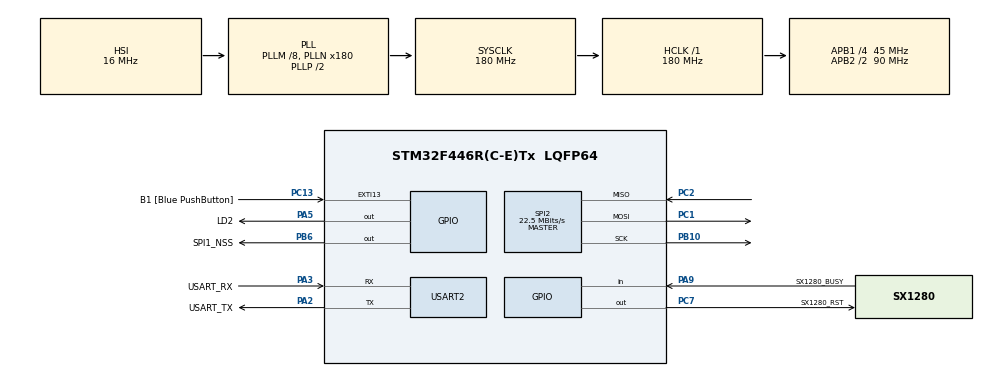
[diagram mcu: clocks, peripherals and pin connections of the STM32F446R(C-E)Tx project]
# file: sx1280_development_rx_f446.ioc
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Mcu.Family=STM32F4
Mcu.Name=STM32F446R(C-E)Tx
Mcu.Package=LQFP64
NVIC.PriorityGroup=NVIC_PRIORITYGROUP_0
PA13.GPIO_Label=TMS
PA13.Mode=Serial_Wire
PA13.Signal=SYS_JTMS-SWDIO
PA14.GPIO_Label=TCK
PA14.Mode=Serial_Wire
PA14.Signal=SYS_JTCK-SWCLK
PA2.GPIO_Label=USART_TX
PA2.Mode=Asynchronous
PA2.Signal=USART2_TX
PA3.GPIO_Label=USART_RX
PA3.Mode=Asynchronous
PA3.Signal=USART2_RX
PA5.GPIO_Label=LD2
PA5.PinState=GPIO_PIN_SET
PA5.Signal=GPIO_Output
PA9.GPIO_Label=SX1280_BUSY
PA9.Signal=GPIO_Input
PB10.Mode=Full_Duplex_Master
PB10.Signal=SPI2_SCK
PB3.GPIO_Label=SWO
PB3.Signal=SYS_JTDO-SWO
PB6.GPIO_Label=SPI1_NSS
PB6.GPIO_PuPd=GPIO_PULLUP
PB6.GPIO_Speed=GPIO_SPEED_FREQ_VERY_HIGH
PB6.PinState=GPIO_PIN_SET
PB6.Signal=GPIO_Output
PC1.GPIO_PuPd=GPIO_PULLDOWN
PC1.Mode=Full_Duplex_Master
PC1.Signal=SPI2_MOSI
PC13.GPIO_Label=B1 [Blue PushButton]
PC13.GPIO_ModeDefaultEXTI=GPIO_MODE_IT_FALLING
PC13.Signal=GPXTI13
PC14-OSC32_IN.Mode=LSE-External-Oscillator
PC14-OSC32_IN.Signal=RCC_OSC32_IN
PC15-OSC32_OUT.Mode=LSE-External-Oscillator
PC15-OSC32_OUT.Signal=RCC_OSC32_OUT
PC2.Mode=Full_Duplex_Master
PC2.Signal=SPI2_MISO
PC7.GPIO_Label=SX1280_RST
PC7.GPIO_PuPd=GPIO_PULLUP
PC7.GPIO_Speed=GPIO_SPEED_FREQ_VERY_HIGH
PC7.PinState=GPIO_PIN_SET
PC7.Signal=GPIO_Output
PH0-OSC_IN.Mode=HSE-External-Oscillator
PH0-OSC_IN.Signal=RCC_OSC_IN
PH1-OSC_OUT.Mode=HSE-External-Oscillator
PH1-OSC_OUT.Signal=RCC_OSC_OUT
ProjectManager.HeapSize=0x200
ProjectManager.StackSize=0x400
ProjectManager.TargetToolchain=STM32CubeIDE
RCC.48MHZClocksFreq_Value=84000000
RCC.AHBFreq_Value=180000000
RCC.APB1CLKDivider=RCC_HCLK_DIV4
RCC.APB1Freq_Value=45000000
RCC.APB1TimFreq_Value=90000000
RCC.APB2CLKDivider=RCC_HCLK_DIV2
RCC.APB2Freq_Value=90000000
RCC.APB2TimFreq_Value=180000000
RCC.CortexFreq_Value=180000000
RCC.FLatency-AdvancedSettings=FLASH_LATENCY_5
RCC.HCLKFreq_Value=180000000
RCC.HSE_VALUE=8000000
RCC.HSI_VALUE=16000000
RCC.PLLM=8
RCC.PLLN=180
RCC.SYSCLKFreq_VALUE=180000000
RCC.SYSCLKSource=RCC_SYSCLKSOURCE_PLLCLK
RCC.USBFreq_Value=180000000
RCC.VCOOutputFreq_Value=360000000
SPI2.CalculateBaudRate=22.5 MBits/s
SPI2.Direction=SPI_DIRECTION_2LINES
SPI2.Mode=SPI_MODE_MASTER
SPI2.VirtualType=VM_MASTER
USART2.VirtualMode=VM_ASYNC
board=NUCLEO-F446RE

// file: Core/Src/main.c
/* USER CODE BEGIN Header */
/**
  ******************************************************************************
  * @file           : main.c
  * @brief          : Main program body
  ******************************************************************************
  * @attention
  *
  * Copyright (c) 2023 STMicroelectronics.
  * All rights reserved.
  *
  * This software is licensed under terms that can be found in the LICENSE file
  * in the root directory of this software component.
  * If no LICENSE file comes with this software, it is provided AS-IS.
  *
  ******************************************************************************
  */
/* USER CODE END Header */
#include "main.h"

SPI_HandleTypeDef hspi2;

UART_HandleTypeDef huart2;

void SystemClock_Config(void);
static void MX_GPIO_Init(void);
static void MX_USART2_UART_Init(void);
static void MX_SPI2_Init(void);
/* USER CODE BEGIN PFP */
static void SPI1_TRANSCEIVER(uint8_t* tx, uint8_t* rx, uint8_t lengh)
{
	while(HAL_GPIO_ReadPin(SX1280_BUSY_GPIO_Port, SX1280_BUSY_Pin));
	HAL_GPIO_WritePin(SPI1_NSS_GPIO_Port, SPI1_NSS_Pin, GPIO_PIN_RESET);
	HAL_Delay(1);
	HAL_SPI_TransmitReceive(&hspi2, tx, rx, lengh, 10);
	HAL_GPIO_WritePin(SPI1_NSS_GPIO_Port, SPI1_NSS_Pin, GPIO_PIN_SET);
}
/* USER CODE END PFP */

int main(void)
{

  /* MCU Configuration--------------------------------------------------------*/

  /* Reset of all peripherals, Initializes the Flash interface and the Systick. */
  HAL_Init();

  /* Configure the system clock */
  SystemClock_Config();

  /* Initialize all configured peripherals */
  MX_GPIO_Init();
  MX_USART2_UART_Init();
  MX_SPI2_Init();
  /* USER CODE BEGIN 2 */

   //===========================================
   //===========================================
   //===========================================

   uint8_t tx[10] = {};
   uint8_t rx[10] = {};

   // reset
   HAL_GPIO_WritePin(SX1280_RST_GPIO_Port, SX1280_RST_Pin, GPIO_PIN_SET);
   HAL_Delay(10);
   HAL_GPIO_WritePin(SX1280_RST_GPIO_Port, SX1280_RST_Pin, GPIO_PIN_RESET);
   HAL_Delay(10);
   HAL_GPIO_WritePin(SX1280_RST_GPIO_Port, SX1280_RST_Pin, GPIO_PIN_SET);

   //===========================================
   // common transceiver setting for LoRa
   //===========================================

   // setstandby(stdby_rc)
   *(uint32_t*)tx = 0x80 | 0x01 << 8;
   SPI1_TRANSCEIVER(tx, rx, 2);

   // setpackettype(packet_type_lora)
   *(uint32_t*)tx = 0x8A | 0x01 << 8; // LoRa mode
   SPI1_TRANSCEIVER(tx, rx, 2);

   // setrffrequency(rfFrequency)
   *(uint32_t*)tx = 0x86 | 0xB8 << 8 | 0x9D << 16 | 0x89 << 24;
   SPI1_TRANSCEIVER(tx, rx, 4);

   // setbufferbaseaddress()
   *(uint32_t*)tx = 0x8F | 0x80 << 8 | 0x00 << 16;
   SPI1_TRANSCEIVER(tx, rx, 3);

   // setmodulationparams(modparam1, modparam2, modparam3)
   *(uint32_t*)tx = 0x8B | 0x70 << 8 | 0x0A << 16 | 0x01 << 24;
   SPI1_TRANSCEIVER(tx, rx, 4);

   // setpacketparams(pktparam1, pktparam2, pktparam3, pktparam4, pktparam5)
   *(uint32_t*)tx = 0x8C | 0x0C << 8 | 0x00 << 16 | 0x04 << 24;
   *(uint32_t*)(tx+4) = 0x40 | 0x00 << 8 | 0x00 << 16;
   SPI1_TRANSCEIVER(tx, rx, 7);

//   //===========================================
//   // Tx Setting and Operations
//   //===========================================
//
//   // SetTxParams(power, rampTime)
//   *(uint32_t*)tx = 0x8E | 0x1F << 8 | 0xE0 << 16 | 0x01 << 24;
//   SPI1_TRANSCEIVER(tx, rx, 4);
//
//   // WriteBuffer(offset, *data)
//   *(uint32_t*)tx = 0x1A | 0x80 << 8 | 0x05 << 16 | 0x04 << 24;
//   *(uint32_t*)(tx+4) = 0x08 | 0x07 << 8;
//   SPI1_TRANSCEIVER(tx, rx, 6);
//
//   // SetDioIrqParams(irqMask, dio1Mask, dio2Mask, dio3Mask)
//   *(uint32_t*)tx = 0x8D | 0x40 << 8 | 0x23 << 16 | 0x00 << 24;
//   *(uint32_t*)(tx+4) = 0x01 | 0x00 << 8 | 0x02 << 16 | 0x40 << 24;
//   *(uint32_t*)(tx+8) = 0x20;
//   SPI1_TRANSCEIVER(tx, rx, 9);
//
//   // SetTx(periodBase, periodBaseCount, '')
//   *(uint32_t*)tx = 0x83 | 0x00 << 8 | 0x00 << 16 | 0x00 << 24;
//   SPI1_TRANSCEIVER(tx, rx, 4);
//
//   // get irq status
//   *(uint32_t*)tx = 0x15 | 0x00 << 8 | 0x00 << 16 | 0x00 << 24;
//   SPI1_TRANSCEIVER(tx, rx, 4);

   //===========================================
   // Rx Setting and Operations
   //===========================================

   // SetDioIrqParams(irqMask, dio1Mask, dio2Mask, dio3Mask)
   *(uint32_t*)tx = 0x8D | 0x40 << 8 | 0x23 << 16 | 0x00 << 24;
   *(uint32_t*)(tx+4) = 0x01 | 0x00 << 8 | 0x02 << 16 | 0x40 << 24;
   *(uint32_t*)(tx+8) = 0x20;
   SPI1_TRANSCEIVER(tx, rx, 9);

   // SetRx(periodBase, periodBaseCount[15:8], periodBaseCount[7:0])
   *(uint32_t*)tx = 0x82 | 0x00 << 8 | 0x00 << 16 | 0x00 << 24;
   SPI1_TRANSCEIVER(tx, rx, 4);

   // WaitIrq
   while(1)
   {
	   *(uint32_t*)tx = 0x15 | 0x00 << 8 | 0x00 << 16 | 0x00 << 24;
	   SPI1_TRANSCEIVER(tx, rx, 4);
	   if(rx[3] & 0x02) break;
   }

   // GetPacketStatus()
   *(uint32_t*)tx = 0x1D | 0x00 << 8 | 0x00 << 16 | 0x00 << 24;
   *(uint32_t*)(tx+4) = 0x00 | 0x00 << 8 | 0x00 << 16;
   SPI1_TRANSCEIVER(tx, rx, 7);

   // ClrIrqStatus(irqMask)
   *(uint32_t*)tx = 0x97 | 0xFF << 8 | 0xFF << 16;
   SPI1_TRANSCEIVER(tx, rx, 3);

   // GetRxBufferStatus()
   *(uint32_t*)tx = 0x17 | 0x00 << 8 | 0x00 << 16 | 0x00 << 24;
   SPI1_TRANSCEIVER(tx, rx, 4);

   // ReadBuffer(offset, payloadLengthRx)
   *(uint32_t*)tx = 0x1B | 0x00 << 8 | 0x00 << 16 | 0x00 << 24;
   *(uint32_t*)(tx+4) = 0x00 | 0x00 << 8 | 0x00 << 16;
   SPI1_TRANSCEIVER(tx, rx, 7);

   // FrequencyError[Hz]

   //===========================================
   //===========================================
   //===========================================

  /* USER CODE END 2 */

  /* Infinite loop */
  /* USER CODE BEGIN WHILE */
  while (1)
  {
	  // SetRx(periodBase, periodBaseCount[15:8], periodBaseCount[7:0])
	     *(uint32_t*)tx = 0x82 | 0x00 << 8 | 0x00 << 16 | 0x00 << 24;
	     SPI1_TRANSCEIVER(tx, rx, 4);

	     // WaitIrq
	     while(1)
	     {
	  	   *(uint32_t*)tx = 0x15 | 0x00 << 8 | 0x00 << 16 | 0x00 << 24;
	  	   SPI1_TRANSCEIVER(tx, rx, 4);
	  	   if(rx[3] & 0x02) break;
	     }

	     // GetPacketStatus()
	     *(uint32_t*)tx = 0x1D | 0x00 << 8 | 0x00 << 16 | 0x00 << 24;
	     *(uint32_t*)(tx+4) = 0x00 | 0x00 << 8 | 0x00 << 16;
	     SPI1_TRANSCEIVER(tx, rx, 7);

	     // ClrIrqStatus(irqMask)
	     *(uint32_t*)tx = 0x97 | 0xFF << 8 | 0xFF << 16;
	     SPI1_TRANSCEIVER(tx, rx, 3);

	     // GetRxBufferStatus()
	     *(uint32_t*)tx = 0x17 | 0x00 << 8 | 0x00 << 16 | 0x00 << 24;
	     SPI1_TRANSCEIVER(tx, rx, 4);

	     // ReadBuffer(offset, payloadLengthRx)
	     *(uint32_t*)tx = 0x1B | 0x00 << 8 | 0x00 << 16 | 0x00 << 24;
	     *(uint32_t*)(tx+4) = 0x00 | 0x00 << 8 | 0x00 << 16;
	     SPI1_TRANSCEIVER(tx, rx, 7);

	     // FrequencyError[Hz]

	     uint32_t test = *(uint32_t*)(rx+3);

	     if(*(uint32_t*)(rx+3) == 0x07080405)
	     {
	    	 HAL_GPIO_TogglePin(LD2_GPIO_Port, LD2_Pin);
	     }

    /* USER CODE END WHILE */

  }
}

void SystemClock_Config(void)
{
  RCC_OscInitTypeDef RCC_OscInitStruct = {0};
  RCC_ClkInitTypeDef RCC_ClkInitStruct = {0};

  /** Configure the main internal regulator output voltage
  */
  __HAL_RCC_PWR_CLK_ENABLE();
  __HAL_PWR_VOLTAGESCALING_CONFIG(PWR_REGULATOR_VOLTAGE_SCALE1);

  /** Initializes the RCC Oscillators according to the specified parameters
  * in the RCC_OscInitTypeDef structure.
  */
  RCC_OscInitStruct.OscillatorType = RCC_OSCILLATORTYPE_HSI;
  RCC_OscInitStruct.HSIState = RCC_HSI_ON;
  RCC_OscInitStruct.HSICalibrationValue = RCC_HSICALIBRATION_DEFAULT;
  RCC_OscInitStruct.PLL.PLLState = RCC_PLL_ON;
  RCC_OscInitStruct.PLL.PLLSource = RCC_PLLSOURCE_HSI;
  RCC_OscInitStruct.PLL.PLLM = 8;
  RCC_OscInitStruct.PLL.PLLN = 180;
  RCC_OscInitStruct.PLL.PLLP = RCC_PLLP_DIV2;
  RCC_OscInitStruct.PLL.PLLQ = 2;
  RCC_OscInitStruct.PLL.PLLR = 2;
  if (HAL_RCC_OscConfig(&RCC_OscInitStruct) != HAL_OK)
  {
    Error_Handler();
  }

  /** Activate the Over-Drive mode
  */
  if (HAL_PWREx_EnableOverDrive() != HAL_OK)
  {
    Error_Handler();
  }

  /** Initializes the CPU, AHB and APB buses clocks
  */
  RCC_ClkInitStruct.ClockType = RCC_CLOCKTYPE_HCLK|RCC_CLOCKTYPE_SYSCLK
                              |RCC_CLOCKTYPE_PCLK1|RCC_CLOCKTYPE_PCLK2;
  RCC_ClkInitStruct.SYSCLKSource = RCC_SYSCLKSOURCE_PLLCLK;
  RCC_ClkInitStruct.AHBCLKDivider = RCC_SYSCLK_DIV1;
  RCC_ClkInitStruct.APB1CLKDivider = RCC_HCLK_DIV4;
  RCC_ClkInitStruct.APB2CLKDivider = RCC_HCLK_DIV2;

  if (HAL_RCC_ClockConfig(&RCC_ClkInitStruct, FLASH_LATENCY_5) != HAL_OK)
  {
    Error_Handler();
  }
}

static void MX_SPI2_Init(void)
{

  /* SPI2 parameter configuration*/
  hspi2.Instance = SPI2;
  hspi2.Init.Mode = SPI_MODE_MASTER;
  hspi2.Init.Direction = SPI_DIRECTION_2LINES;
  hspi2.Init.DataSize = SPI_DATASIZE_8BIT;
  hspi2.Init.CLKPolarity = SPI_POLARITY_LOW;
  hspi2.Init.CLKPhase = SPI_PHASE_1EDGE;
  hspi2.Init.NSS = SPI_NSS_SOFT;
  hspi2.Init.BaudRatePrescaler = SPI_BAUDRATEPRESCALER_2;
  hspi2.Init.FirstBit = SPI_FIRSTBIT_MSB;
  hspi2.Init.TIMode = SPI_TIMODE_DISABLE;
  hspi2.Init.CRCCalculation = SPI_CRCCALCULATION_DISABLE;
  hspi2.Init.CRCPolynomial = 10;
  if (HAL_SPI_Init(&hspi2) != HAL_OK)
  {
    Error_Handler();
  }

}

static void MX_USART2_UART_Init(void)
{

  huart2.Instance = USART2;
  huart2.Init.BaudRate = 115200;
  huart2.Init.WordLength = UART_WORDLENGTH_8B;
  huart2.Init.StopBits = UART_STOPBITS_1;
  huart2.Init.Parity = UART_PARITY_NONE;
  huart2.Init.Mode = UART_MODE_TX_RX;
  huart2.Init.HwFlowCtl = UART_HWCONTROL_NONE;
  huart2.Init.OverSampling = UART_OVERSAMPLING_16;
  if (HAL_UART_Init(&huart2) != HAL_OK)
  {
    Error_Handler();
  }

}

static void MX_GPIO_Init(void)
{
  GPIO_InitTypeDef GPIO_InitStruct = {0};

  /* GPIO Ports Clock Enable */
  __HAL_RCC_GPIOC_CLK_ENABLE();
  __HAL_RCC_GPIOH_CLK_ENABLE();
  __HAL_RCC_GPIOA_CLK_ENABLE();
  __HAL_RCC_GPIOB_CLK_ENABLE();

  /*Configure GPIO pin Output Level */
  HAL_GPIO_WritePin(LD2_GPIO_Port, LD2_Pin, GPIO_PIN_SET);

  /*Configure GPIO pin Output Level */
  HAL_GPIO_WritePin(SX1280_RST_GPIO_Port, SX1280_RST_Pin, GPIO_PIN_SET);

  /*Configure GPIO pin Output Level */
  HAL_GPIO_WritePin(SPI1_NSS_GPIO_Port, SPI1_NSS_Pin, GPIO_PIN_SET);

  /*Configure GPIO pin : B1_Pin */
  GPIO_InitStruct.Pin = B1_Pin;
  GPIO_InitStruct.Mode = GPIO_MODE_IT_FALLING;
  GPIO_InitStruct.Pull = GPIO_NOPULL;
  HAL_GPIO_Init(B1_GPIO_Port, &GPIO_InitStruct);

  /*Configure GPIO pin : LD2_Pin */
  GPIO_InitStruct.Pin = LD2_Pin;
  GPIO_InitStruct.Mode = GPIO_MODE_OUTPUT_PP;
  GPIO_InitStruct.Pull = GPIO_NOPULL;
  GPIO_InitStruct.Speed = GPIO_SPEED_FREQ_LOW;
  HAL_GPIO_Init(LD2_GPIO_Port, &GPIO_InitStruct);

  /*Configure GPIO pin : SX1280_RST_Pin */
  GPIO_InitStruct.Pin = SX1280_RST_Pin;
  GPIO_InitStruct.Mode = GPIO_MODE_OUTPUT_PP;
  GPIO_InitStruct.Pull = GPIO_PULLUP;
  GPIO_InitStruct.Speed = GPIO_SPEED_FREQ_VERY_HIGH;
  HAL_GPIO_Init(SX1280_RST_GPIO_Port, &GPIO_InitStruct);

  /*Configure GPIO pin : SX1280_BUSY_Pin */
  GPIO_InitStruct.Pin = SX1280_BUSY_Pin;
  GPIO_InitStruct.Mode = GPIO_MODE_INPUT;
  GPIO_InitStruct.Pull = GPIO_NOPULL;
  HAL_GPIO_Init(SX1280_BUSY_GPIO_Port, &GPIO_InitStruct);

  /*Configure GPIO pin : SPI1_NSS_Pin */
  GPIO_InitStruct.Pin = SPI1_NSS_Pin;
  GPIO_InitStruct.Mode = GPIO_MODE_OUTPUT_PP;
  GPIO_InitStruct.Pull = GPIO_PULLUP;
  GPIO_InitStruct.Speed = GPIO_SPEED_FREQ_VERY_HIGH;
  HAL_GPIO_Init(SPI1_NSS_GPIO_Port, &GPIO_InitStruct);

}

void Error_Handler(void)
{
  __disable_irq();
  while (1)
  {
  }
}
